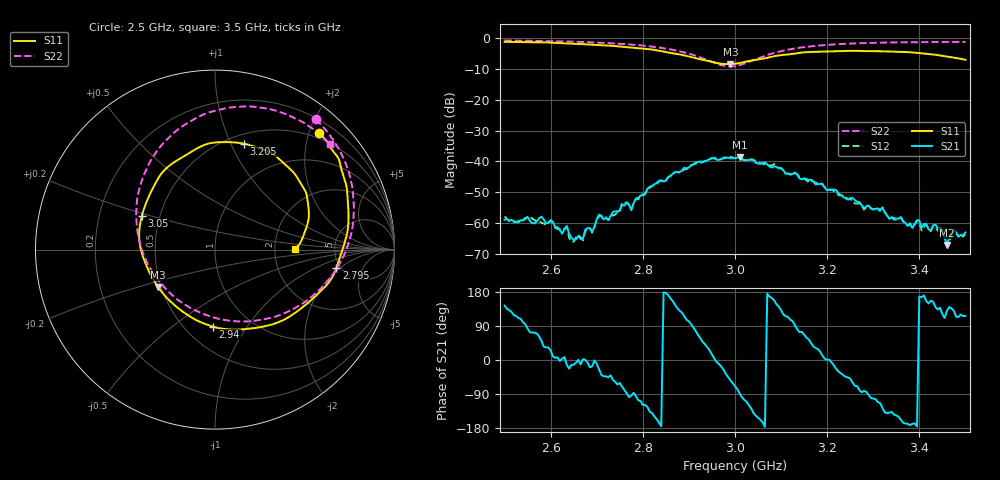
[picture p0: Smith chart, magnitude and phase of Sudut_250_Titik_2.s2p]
# Hz S RI R 50
! CMT, C1220, 16058040, 17.2.0/1
! Date: 15/08/2018 10:51:59
! Data: Format (Calibration Info)
! Freq  S11: Re/Im (F2)  S21: Re/Im (F2)  S12: Re/Im (F2)  S22: Re/Im (F2)
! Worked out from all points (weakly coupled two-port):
!   201 points, 2.5 GHz to 3.5 GHz, reference 50 ohm
!   highest |S21| = -38.59 dB at 3.01 GHz (marker M1); lowest = -67.1 dB at 3.46 GHz (marker M2)
!   lowest |S11| = -8.4 dB at 2.99 GHz (marker M3), VSWR 2.22, Z = 24.1 - j11.7 ohm
!   |S11| at or under -10 dB: nowhere
!   |S22| runs from -9.2 to -0.7 dB; largest |S21 - S12| = 0.00081
!   S11 on the Smith chart (normalised r, x): 2.5 GHz: 0.40, +2.17; 2.795 GHz: 4.58, -1.80; 2.94 GHz: 0.68, -0.71; 3.05 GHz: 0.40, +0.19; 3.205 GHz: 0.59, +1.12; 3.5 GHz: 2.61, +0.01
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2.5e9  0.581 0.6513  -0.000906 0.000675  -0.00105 0.00073  0.5618 0.7264
2.58e9  0.6802 0.52  0.000804 0.000975  0.000685 0.000741  0.6506 0.6228
2.67e9  0.7371 0.3133  0.000551 2.06e-05  0.000523 -1.87e-05  0.7372 0.4554
2.705e9  0.7439 0.2038  0.00124 -0.000577  0.00119 -0.000473  0.7603 0.3704
2.725e9  0.7432 0.1519  0.000785 -0.000796  0.000657 -0.000895  0.7683 0.3182
2.755e9  0.7246 0.0463  0.000655 -0.00186  0.000813 -0.00197  0.7737 0.2304
2.775e9  0.7031 -0.0218  -0.000118 -0.00161  -0.000166 -0.00163  0.7705 0.1643
2.795e9  0.6753 -0.1045  -0.00087 -0.00263  -0.000807 -0.00247  0.7606 0.0937
2.835e9  0.579 -0.2409  -0.00467 -0.00125  -0.00447 -0.00131  0.7025 -0.0636
2.94e9  -0.0114 -0.4295  0.00865 0.00573  0.00853 0.006  0.1874 -0.3998
2.99e9  -0.3162 -0.2084  0.00664 -0.00902  0.00705 -0.00935  -0.2123 -0.2761
3e9  -0.3568 -0.1442  0.00406 -0.0105  0.00349 -0.0108  -0.2783 -0.2143
3.01e9  -0.388 -0.0745  0.000371 -0.0118  0.00042 -0.0112  -0.3352 -0.1453
3.05e9  -0.4075 0.189  -0.00816 -0.00424  -0.00884 -0.00417  -0.4382 0.1708
3.17e9  0.0268 0.5987  0.00383 0.00277  0.00361 0.00306  -0.0926 0.7393
3.205e9  0.1603 0.59  0.00346 3.48e-05  0.00349 -0.000231  0.0349 0.7822
3.335e9  0.4661 0.3881  -0.000884 -0.000761  -0.000906 -0.000749  0.3898 0.7569
3.435e9  0.5167 0.1471  -0.000717 0.000608  -0.000642 0.000554  0.5612 0.6602
3.45e9  0.5046 0.1097  -0.00041 0.000687  -0.000415 0.00062  0.5828 0.6432
3.46e9  0.4952 0.0841  -0.000283 0.000338  -0.000295 0.000299  0.5957 0.6332
3.475e9  0.4807 0.0488  -0.000502 0.000611  -0.000425 0.000631  0.6134 0.6159
3.5e9  0.4455 0.00109  -0.00031 0.000628  -0.000268 0.000597  0.6429 0.586
